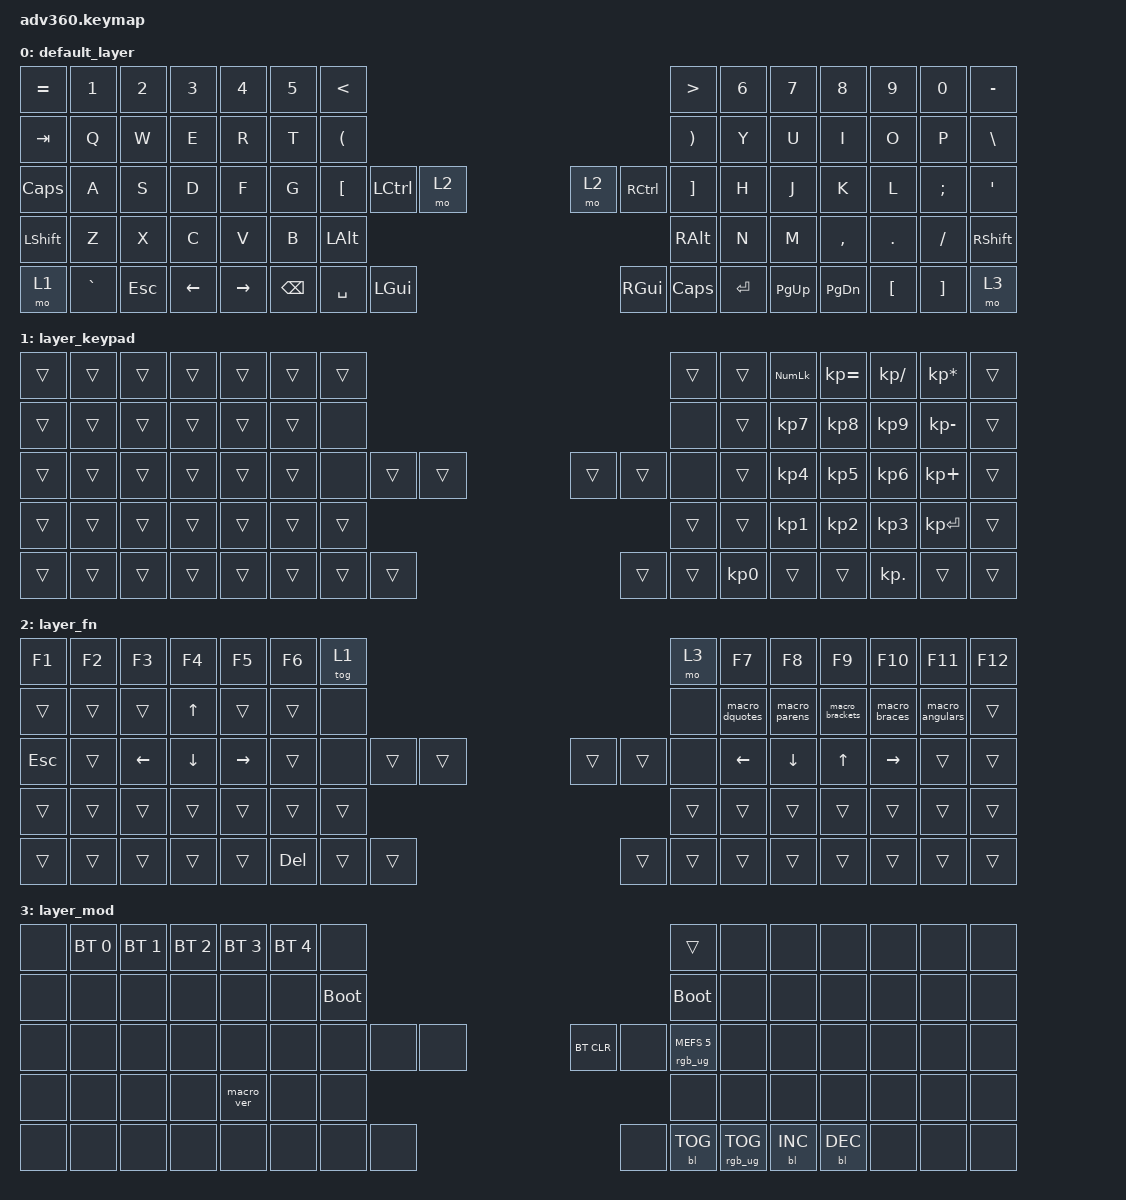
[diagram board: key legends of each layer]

/*
 * Copyright (c) 2020 The ZMK Contributors
 *
 * SPDX-License-Identifier: MIT
 */


/* THIS FILE WAS GENERATED!
 *
 * This file was generated automatically. You may or may not want to
 * edit it directly.
 */

#include <behaviors.dtsi>
#include <dt-bindings/zmk/keys.h>
#include <dt-bindings/zmk/bt.h>
#include <dt-bindings/zmk/rgb.h>
#include <dt-bindings/zmk/backlight.h>

/ {
  behaviors {
    #include "macros.dtsi"
    #include "version.dtsi"

    hm: homerow_mods {
        compatible = "zmk,behavior-hold-tap";
        label = "HOMEROW_MODS";
        #binding-cells = <2>;
        tapping-term-ms = <200>;
        quick_tap_ms = <175>;
        flavor = "tap-preferred";
        bindings = <&kp>, <&kp>;
    };
  };

    keymap {
        compatible = "zmk,keymap";


        default_layer {
            bindings = <
 &kp EQUAL     &kp N1   &kp N2    &kp N3     &kp N4  &kp N5                   &kp LESS_THAN                                                                          &kp GREATER_THAN  &kp N6     &kp N7     &kp N8            &kp N9             &kp N0  &kp MINUS
   &kp TAB      &kp Q    &kp W     &kp E      &kp R   &kp T            &kp LEFT_PARENTHESIS                                                                     &kp RIGHT_PARENTHESIS   &kp Y      &kp U      &kp I             &kp O              &kp P   &kp BSLH
  &kp CAPS      &kp A    &kp S     &kp D      &kp F   &kp G                &kp LEFT_BRACKET  &kp LCTRL         &mo 2                          &mo 2  &kp RCTRL      &kp RIGHT_BRACKET   &kp H      &kp J      &kp K             &kp L           &kp SEMI    &kp SQT
 &kp LSHFT      &kp Z    &kp X     &kp C      &kp V   &kp B                                             &kp LEFT_ALT                  &kp RIGHT_ALT                                     &kp N      &kp M  &kp COMMA           &kp DOT           &kp FSLH  &kp RSHFT
     &mo 1  &kp GRAVE  &kp ESC  &kp LEFT  &kp RIGHT                                &kp BSPC  &kp SPACE      &kp LGUI                       &kp RGUI   &kp CAPS              &kp ENTER          &kp PG_UP  &kp PG_DN  &kp LEFT_BRACKET  &kp RIGHT_BRACKET      &mo 3
            >;
        };

        layer_keypad {
            bindings = <
 &trans  &trans  &trans  &trans  &trans  &trans            &trans                                                     &trans  &trans  &kp KP_NUM  &kp KP_EQUAL  &kp KP_DIVIDE  &kp KP_MULTIPLY  &trans
 &trans  &trans  &trans  &trans  &trans  &trans             &none                                                      &none  &trans   &kp KP_N7     &kp KP_N8      &kp KP_N9     &kp KP_MINUS  &trans
 &trans  &trans  &trans  &trans  &trans  &trans             &none  &trans  &trans                  &trans  &trans      &none  &trans   &kp KP_N4     &kp KP_N5      &kp KP_N6      &kp KP_PLUS  &trans
 &trans  &trans  &trans  &trans  &trans  &trans                            &trans                  &trans                     &trans   &kp KP_N1     &kp KP_N2      &kp KP_N3     &kp KP_ENTER  &trans
 &trans  &trans  &trans  &trans  &trans                    &trans  &trans  &trans                  &trans  &trans  &kp KP_N0              &trans        &trans     &kp KP_DOT           &trans  &trans
            >;
        };

        layer_fn {
            bindings = <
  &kp F1  &kp F2    &kp F3    &kp F4     &kp F5  &kp F6             &tog 1                                                   &mo 3          &kp F7         &kp F8           &kp F9        &kp F10          &kp F11  &kp F12
  &trans  &trans    &trans    &kp UP     &trans  &trans              &none                                                   &none  &macro_dquotes  &macro_parens  &macro_brackets  &macro_braces  &macro_angulars   &trans
 &kp ESC  &trans  &kp LEFT  &kp DOWN  &kp RIGHT  &trans              &none  &trans  &trans                  &trans  &trans   &none        &kp LEFT       &kp DOWN           &kp UP      &kp RIGHT           &trans   &trans
  &trans  &trans    &trans    &trans     &trans  &trans                             &trans                  &trans                          &trans         &trans           &trans         &trans           &trans   &trans
  &trans  &trans    &trans    &trans     &trans                    &kp DEL  &trans  &trans                  &trans  &trans  &trans                         &trans           &trans         &trans           &trans   &trans
            >;
        };

        layer_mod {
            bindings = <
  &none  &bt BT_SEL 0  &bt BT_SEL 1  &bt BT_SEL 2  &bt BT_SEL 3  &bt BT_SEL 4                  &none                                                                          &trans   &none       &none       &none   &none   &none   &none
  &none         &none         &none         &none         &none         &none            &bootloader                                                                     &bootloader   &none       &none       &none   &none   &none   &none
  &none         &none         &none         &none         &none         &none                  &none   &none   &none                  &bt BT_CLR       &none  &rgb_ug RGB_MEFS_CMD 5   &none       &none       &none   &none   &none   &none
  &none         &none         &none         &none    &macro_ver         &none                                  &none                       &none                                       &none       &none       &none   &none   &none   &none
  &none         &none         &none         &none         &none                                &none   &none   &none                       &none  &bl BL_TOG         &rgb_ug RGB_TOG          &bl BL_INC  &bl BL_DEC   &none   &none   &none
            >;
        };

    };
};
